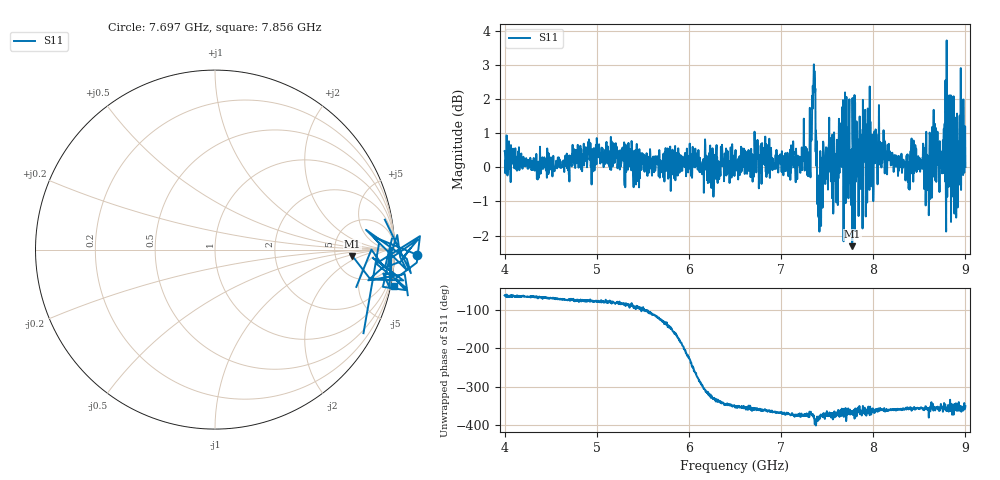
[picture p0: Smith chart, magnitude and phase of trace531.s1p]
! Created with skrf 1.8.0 (http://scikit-rf.org).
# Hz S RI R 50.0
!freq ReS11 ImS11
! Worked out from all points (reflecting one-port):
!   1601 points, 4 GHz to 9 GHz, reference 50 ohm
!   lowest |S11| = -2.3 dB at 7.772 GHz (marker M1), VSWR 7.56, Z = 367 - j63.9 ohm
!   phase of S11 starts at -62 deg and turns -289 deg over the sweep
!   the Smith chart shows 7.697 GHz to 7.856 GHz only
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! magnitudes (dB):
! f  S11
! 4 GHz  0.5
! 4.625 GHz  0.0
! 4.894 GHz  0.0
! 5.25 GHz  -0.1
! 5.875 GHz  0.2
! 6.5 GHz  0.0
! 7.125 GHz  0.3
! 7.294 GHz  -0.3
! 7.316 GHz  -0.1
! 7.347 GHz  2.1
! 7.362 GHz  2.8
! 7.409 GHz  -1.5
! 7.512 GHz  0.4
! 7.591 GHz  0.3
! 7.65 GHz  0.6
! 7.75 GHz  0.0
! 7.772 GHz  -2.3
! 7.8 GHz  -1.9
! 7.891 GHz  0.5
! 8.375 GHz  -0.4
! 8.522 GHz  0.0
! 8.584 GHz  0.4
! 8.666 GHz  0.3
! 8.734 GHz  0.4
! 8.819 GHz  -0.6
! 8.903 GHz  1.0
! 8.972 GHz  0.2
! 9 GHz  0.0
